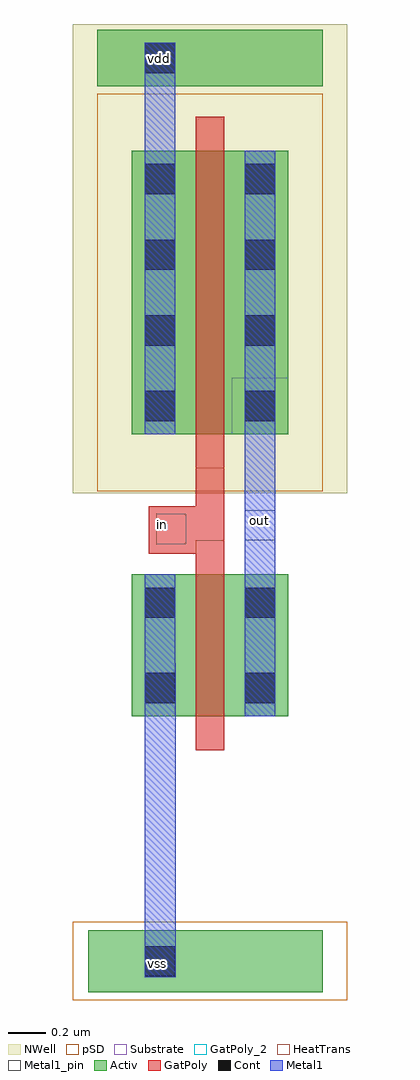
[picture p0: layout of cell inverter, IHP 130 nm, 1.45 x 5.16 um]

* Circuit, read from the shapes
.subckt inverter in out vdd vss
XM1 out in vss vss sg13_lv_nmos w=0.75u l=0.15u
XM2 out in vdd vdd sg13_lv_pmos w=1.5u l=0.15u
.ends

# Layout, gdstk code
import gdstk
lib = gdstk.Library(unit=1e-6, precision=5e-09)
def R(c, l, rs):  # rectangles x0, y0, x1, y1
    for r in rs: c.add(gdstk.rectangle(r[:2], r[2:], *l))
def A(c, l, x, y, w, h, nx, ny, dx, dy):  # array of equal rectangles
    R(c, l, [(x+i*dx, y+j*dy, x+i*dx+w, y+j*dy+h) for i in range(nx) for j in range(ny)])
Activ = (1, 0)
GatPoly = (5, 0)
GatPoly_2 = (5, 2)
Cont = (6, 0)
Metal1 = (8, 0)
Metal1_pin = (8, 2)
pSD = (14, 0)
NWell = (31, 0)
Substrate = (40, 0)
HeatTrans = (51, 0)

nmos = lib.new_cell('nmos')
R(nmos, Activ, [(0,0,0.3,0.3), (0,0,0.83,0.75), (0.53,0,0.83,0.3)])
R(nmos, GatPoly, [(0.34,-0.18,0.49,0.93)])
R(nmos, GatPoly_2, [(0.34,-0.18,0.49,0.93)])
R(nmos, Cont, [(0.07,0.07,0.23,0.23), (0.6,0.07,0.76,0.23), (0.07,0.52,0.23,0.68), (0.6,0.52,0.76,0.68)])
R(nmos, Metal1, [(0.07,0,0.23,0.75), (0.6,0,0.76,0.75)])
R(nmos, Metal1_pin, [(0.07,0,0.23,0.75), (0.6,0,0.76,0.75)])
R(nmos, HeatTrans, [(0.34,-0.18,0.49,0.93)])
nmos.add(gdstk.Label('nmos', (0.415,0.375), layer=63, texttype=0))
nmos.add(gdstk.Label('nmos', (0.415,0.375), layer=51, texttype=0))

pmos_1 = lib.new_cell('pmos$1')
R(pmos_1, Activ, [(0,0,0.3,0.3), (0,0,0.83,1.5), (0.53,0,0.83,0.3)])
R(pmos_1, GatPoly, [(0.34,-0.18,0.49,1.68), (0.34,-0.18,0.49,1.68)])
A(pmos_1, Cont, 0.07, 0.07, 0.16, 0.16, 1, 4, 0, 0.4)
A(pmos_1, Cont, 0.6, 0.07, 0.16, 0.16, 1, 4, 0, 0.4)
R(pmos_1, Metal1, [(0.07,0,0.23,1.5), (0.07,0,0.23,1.5), (0.6,0,0.76,1.5), (0.6,0,0.76,1.5)])
R(pmos_1, pSD, [(-0.18,-0.3,1.01,1.8)])
R(pmos_1, NWell, [(-0.31,-0.31,1.14,1.81)])
R(pmos_1, Substrate, [(0.53,0,0.83,0.3)])
R(pmos_1, HeatTrans, [(0.34,-0.18,0.49,1.68)])
pmos_1.add(gdstk.Label('pmos', (0.415,0.75), layer=63, texttype=0))
pmos_1.add(gdstk.Label('pmos', (0.415,0.75), layer=51, texttype=0))

inverter = lib.new_cell('inverter')
R(inverter, Activ, [(-0.845,-2.585,0.395,-2.255), (-0.795,2.205,0.395,2.505)])
R(inverter, GatPoly, [(-0.525,-0.265,-0.275,-0.015), (-0.275,-0.195,-0.125,0.185)])
R(inverter, GatPoly_2, [(-0.485,-0.215,-0.325,-0.055)])
R(inverter, Cont, [(-0.545,-2.5,-0.385,-2.34), (-0.545,-2.5,-0.385,-2.34), (-0.545,2.275,-0.385,2.435)])
R(inverter, Metal1, [(-0.545,-2.505,-0.38,-0.845), (-0.015,-0.375,0.145,0.365), (-0.545,1.865,-0.385,2.435)])
R(inverter, Metal1_pin, [(-0.015,-0.195,0.145,-0.035)])
R(inverter, pSD, [(-0.925,-2.625,0.525,-2.21)])
R(inverter, NWell, [(-0.925,2.175,0.525,2.535)])
inverter.add(gdstk.Reference(nmos, (-0.615,-1.125)))
inverter.add(gdstk.Reference(pmos_1, (-0.615,0.365)))
inverter.add(gdstk.Label('vss', (-0.475,-2.43), layer=8, texttype=2))
inverter.add(gdstk.Label('vdd', (-0.465,2.355), layer=8, texttype=2))
inverter.add(gdstk.Label('out', (0.06,-0.09), layer=8, texttype=2))
inverter.add(gdstk.Label('in', (-0.45,-0.11), layer=5, texttype=2))

lib.write_gds('inverter.gds')
